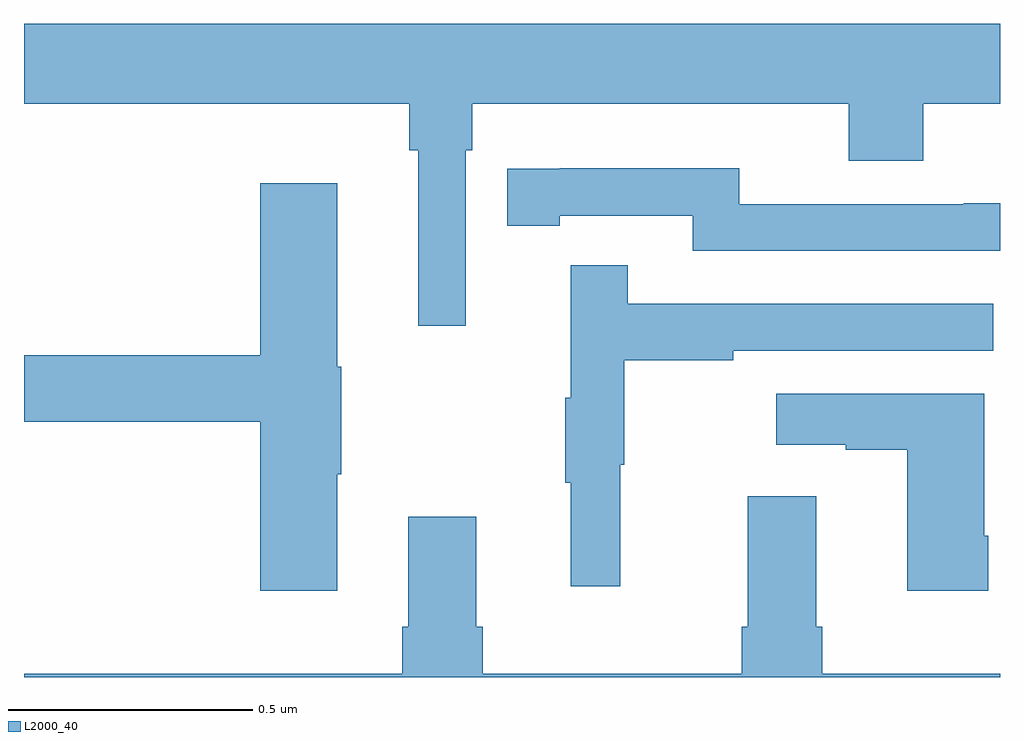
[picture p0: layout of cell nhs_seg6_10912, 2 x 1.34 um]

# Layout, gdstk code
import gdstk
lib = gdstk.Library(unit=1e-6, precision=1e-09)
def P(c, l, *ps):  # polygons
    for p in ps: c.add(gdstk.Polygon(p, *l))
L2000_40 = (2000, 40)

nhs_seg6_10912 = lib.new_cell('nhs_seg6_10912')
P(nhs_seg6_10912, L2000_40, [(253.905,940.58),(253.919,940.58),(253.919,940.676),(254.69,940.676),(254.69,940.559),(254.843,940.559),(254.843,940.676),(255,940.676),(255,940.84),(253,940.84),(253,940.676),(253.789,940.676),(253.789,940.58),(253.808,940.58),(253.808,940.221),(253.905,940.221)],
  [(255,940.472),(254.926,940.472),(254.926,940.47),(254.466,940.47),(254.466,940.543),(254.098,940.543),(254.098,940.542),(253.99,940.542),(253.99,940.426),(254.098,940.426),(254.098,940.446),(254.37,940.446),(254.37,940.374),(255,940.374)],
  [(253.642,939.916),(253.65,939.916),(253.65,940.137),(253.642,940.137),(253.642,940.513),(253.484,940.513),(253.484,940.16),(253,940.16),(253,940.024),(253.484,940.024),(253.484,939.678),(253.642,939.678)],
  [(254.222,939.936),(254.23,939.936),(254.23,940.15),(254.453,940.15),(254.453,940.17),(254.986,940.17),(254.986,940.266),(254.237,940.266),(254.237,940.345),(254.12,940.345),(254.12,940.073),(254.109,940.073),(254.109,939.899),(254.12,939.899),(254.12,939.687),(254.222,939.687)],
  [(254.976,939.79),(254.968,939.79),(254.968,940.081),(254.541,940.081),(254.541,939.977),(254.684,939.977),(254.684,939.967),(254.81,939.967),(254.81,939.678),(254.976,939.678)],
  [(255,939.508),(254.636,939.508),(254.636,939.604),(254.623,939.604),(254.623,939.871),(254.483,939.871),(254.483,939.604),(254.471,939.604),(254.471,939.508),(253.94,939.508),(253.94,939.604),(253.927,939.604),(253.927,939.829),(253.787,939.829),(253.787,939.604),(253.775,939.604),(253.775,939.508),(253,939.508),(253,939.5),(255,939.5)])

lib.write_gds('nhs_seg6_10912.gds')
